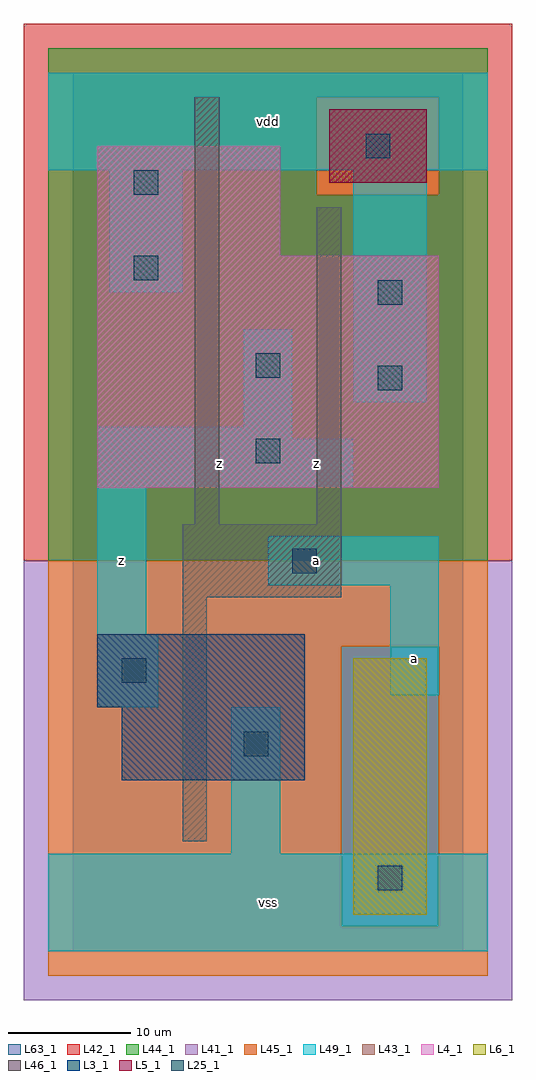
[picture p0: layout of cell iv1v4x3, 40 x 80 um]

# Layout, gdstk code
import gdstk
lib = gdstk.Library(unit=1e-6, precision=1e-09)
def R(c, l, rs):  # rectangles x0, y0, x1, y1
    for r in rs: c.add(gdstk.rectangle(r[:2], r[2:], *l))
L3_1 = (3, 1)
L4_1 = (4, 1)
L5_1 = (5, 1)
L6_1 = (6, 1)
L25_1 = (25, 1)
L41_1 = (41, 1)
L42_1 = (42, 1)
L43_1 = (43, 1)
L44_1 = (44, 1)
L45_1 = (45, 1)
L46_1 = (46, 1)
L49_1 = (49, 1)
L63_1 = (63, 1)

iv1v4x3 = lib.new_cell('iv1v4x3')
R(iv1v4x3, L3_1, [(4,14,19,20), (2,20,19,26)])
R(iv1v4x3, L4_1, [(2,38,30,57), (2,57,17,66)])
R(iv1v4x3, L5_1, [(21,63,29,69)])
R(iv1v4x3, L6_1, [(23,3,29,24), (23,3,29,24)])
R(iv1v4x3, L25_1, [(25,5,27,7), (14,16,16,18), (4,22,6,24), (18,31,20,33), (15,40,17,42), (25,46,27,48), (15,47,17,49), (25,53,27,55), (5,55,7,57), (5,62,7,64), (24,65,26,67)])
R(iv1v4x3, L41_1, [(-4,-4,36,32)])
R(iv1v4x3, L42_1, [(-4,32,36,76)])
R(iv1v4x3, L43_1, [(23,3,29,24), (4,14,19,20), (2,20,19,26), (2,38,30,57), (2,57,17,66), (21,63,29,69)])
R(iv1v4x3, L44_1, [(22,2,30,25), (-2,32,34,62), (-2,62,20,70), (30,62,34,70), (-2,70,34,74)])
R(iv1v4x3, L45_1, [(-2,-2,34,2), (-2,2,22,25), (30,2,34,25), (-2,25,34,32), (20,62,30,70)])
R(iv1v4x3, L46_1, [(9,9,11,29), (9,29,22,35), (10,35,12,70), (20,35,22,61)])
R(iv1v4x3, L49_1, [(-2,0,34,8), (13,8,17,20), (2,20,7,26), (26,21,30,30), (2,26,6,38), (16,30,30,34), (2,38,23,42), (2,42,18,43), (14,43,18,51), (23,45,29,64), (3,54,9,64), (-2,64,34,72)])
R(iv1v4x3, L63_1, [(0,0,32,72)])
iv1v4x3.add(gdstk.Label('z', (4,32), layer=49, texttype=1))
iv1v4x3.add(gdstk.Label('z', (12,40), layer=49, texttype=1))
iv1v4x3.add(gdstk.Label('vss', (16,4), layer=49, texttype=1))
iv1v4x3.add(gdstk.Label('a', (20,32), layer=49, texttype=1))
iv1v4x3.add(gdstk.Label('z', (20,40), layer=49, texttype=1))
iv1v4x3.add(gdstk.Label('vdd', (16,68), layer=49, texttype=1))
iv1v4x3.add(gdstk.Label('a', (28,24), layer=49, texttype=1))

lib.write_gds('iv1v4x3.gds')
